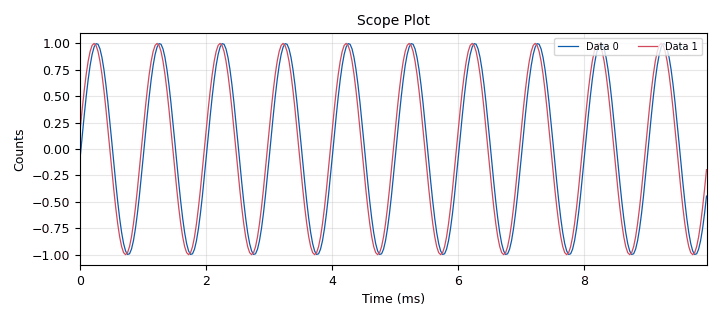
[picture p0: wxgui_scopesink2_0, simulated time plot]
<?xml version='1.0' encoding='utf-8'?>
<?grc format='1' created='3.7.10'?>
<flow_graph>
<block>
<key>options</key>
<param><key>id</key><value>top_block</value></param>
<param><key>category</key><value>Custom</value></param>
<param><key>generate_options</key><value>wx_gui</value></param>
</block>
<block>
<key>variable</key>
<param><key>id</key><value>samp_rate</value></param>
<param><key>value</key><value>32000</value></param>
</block>
<block>
<key>variable_slider</key>
<param><key>id</key><value>shift_in_radians</value></param>
<param><key>converver</key><value>float_converter</value></param>
<param><key>value</key><value>50</value></param>
<param><key>label</key><value></value></param>
<param><key>max</key><value>350</value></param>
<param><key>min</key><value>0</value></param>
<param><key>num_steps</key><value>360</value></param>
<param><key>style</key><value>wx.SL_HORIZONTAL</value></param>
</block>
<block>
<key>analog_sig_source_x</key>
<param><key>id</key><value>analog_sig_source_x_0</value></param>
<param><key>amp</key><value>1</value></param>
<param><key>freq</key><value>1000</value></param>
<param><key>offset</key><value>0</value></param>
<param><key>type</key><value>complex</value></param>
<param><key>samp_rate</key><value>samp_rate</value></param>
<param><key>waveform</key><value>analog.GR_COS_WAVE</value></param>
</block>
<block>
<key>blocks_complex_to_real</key>
<param><key>id</key><value>blocks_complex_to_real_0</value></param>
</block>
<block>
<key>blocks_complex_to_real</key>
<param><key>id</key><value>blocks_complex_to_real_1</value></param>
</block>
<block>
<key>blocks_multiply_const_vxx</key>
<param><key>id</key><value>blocks_multiply_const_vxx_0</value></param>
<param><key>const</key><value>complex(math.cos(shift_in_radians),math.sin(shift_in_radians)) </value></param>
<param><key>type</key><value>complex</value></param>
</block>
<block>
<key>import</key>
<param><key>id</key><value>import_0</value></param>
<param><key>import</key><value>import cmath</value></param>
</block>
<block>
<key>import</key>
<param><key>id</key><value>import_0_0</value></param>
<param><key>import</key><value>import math</value></param>
</block>
<block>
<key>wxgui_scopesink2</key>
<param><key>id</key><value>wxgui_scopesink2_0</value></param>
<param><key>ac_couple</key><value>False</value></param>
<param><key>num_inputs</key><value>2</value></param>
<param><key>samp_rate</key><value>samp_rate</value></param>
<param><key>t_scale</key><value>0</value></param>
<param><key>title</key><value>Scope Plot</value></param>
<param><key>trig_mode</key><value>wxgui.TRIG_MODE_AUTO</value></param>
<param><key>type</key><value>float</value></param>
<param><key>v_offset</key><value>0</value></param>
<param><key>v_scale</key><value>0</value></param>
<param><key>xy_mode</key><value>False</value></param>
<param><key>y_axis_label</key><value>Counts</value></param>
</block>
<connection><source_block_id>analog_sig_source_x_0</source_block_id><sink_block_id>blocks_complex_to_real_1</sink_block_id><source_key>0</source_key><sink_key>0</sink_key></connection>
<connection><source_block_id>analog_sig_source_x_0</source_block_id><sink_block_id>blocks_multiply_const_vxx_0</sink_block_id><source_key>0</source_key><sink_key>0</sink_key></connection>
<connection><source_block_id>blocks_complex_to_real_0</source_block_id><sink_block_id>wxgui_scopesink2_0</sink_block_id><source_key>0</source_key><sink_key>0</sink_key></connection>
<connection><source_block_id>blocks_complex_to_real_1</source_block_id><sink_block_id>wxgui_scopesink2_0</sink_block_id><source_key>0</source_key><sink_key>1</sink_key></connection>
<connection><source_block_id>blocks_multiply_const_vxx_0</source_block_id><sink_block_id>blocks_complex_to_real_0</sink_block_id><source_key>0</source_key><sink_key>0</sink_key></connection>
</flow_graph>
